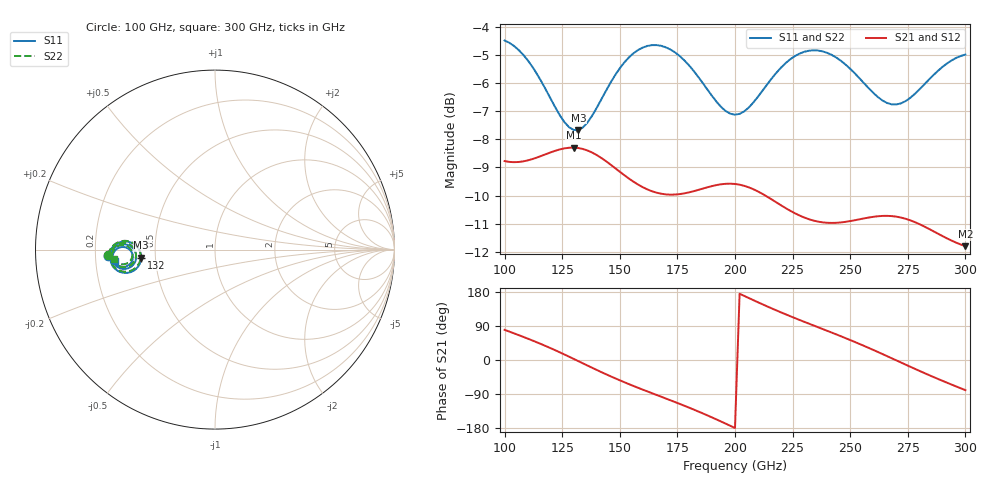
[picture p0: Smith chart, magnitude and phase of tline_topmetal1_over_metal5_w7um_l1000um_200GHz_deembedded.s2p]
! Created with skrf 2.0.1 (http://scikit-rf.org).
# GHz S DB R 50.0
!freq dBS11 angS11 dBS21 angS21 dBS12 angS12 dBS22 angS22
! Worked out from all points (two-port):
!   101 points, 100 GHz to 300 GHz, reference 50 ohm
!   highest |S21| = -8.29 dB at 130 GHz (marker M1); lowest = -11.8 dB at 300 GHz (marker M2)
!   |S21| within 3 dB of the highest: start of sweep to 286.7 GHz
!   lowest |S11| = -7.7 dB at 132 GHz (marker M3), VSWR 2.41, Z = 20.8 - j2.22 ohm
!   |S11| at or under -10 dB: nowhere
!   |S22| runs from -7.6 to -4.5 dB; largest |S21 - S12| = 3.8e-14
!   S11 on the Smith chart (normalised r, x): 100 GHz: 0.25, -0.03; 132 GHz: 0.42, -0.04; 300 GHz: 0.28, -0.05
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100  -4.48 -176.7  -8.77 79.6  -8.77 79.6  -4.48 -177.0
116  -5.95 174.9  -8.59 41.6  -8.59 41.6  -5.93 174.4
124  -7.15 177.3  -8.36 20.1  -8.36 20.1  -7.12 176.8
130  -7.67 -176.4  -8.29 2.9  -8.29 2.9  -7.63 -177.0
132  -7.67 -173.9  -8.31 -3.0  -8.31 -3.0  -7.63 -174.5
134  -7.58 -171.4  -8.34 -8.9  -8.34 -8.9  -7.54 -172.1
142  -6.57 -165.4  -8.66 -32.0  -8.66 -32.0  -6.55 -166.2
150  -5.47 -166.1  -9.15 -53.6  -9.15 -53.6  -5.46 -166.9
158  -4.82 -170.2  -9.61 -73.5  -9.61 -73.5  -4.81 -171.1
168  -4.68 -176.5  -9.93 -97.0  -9.93 -97.0  -4.67 -177.4
184  -5.77 176.7  -9.80 -135.7  -9.80 -135.7  -5.76 175.8
192  -6.66 178.3  -9.62 -157.0  -9.62 -157.0  -6.65 177.3
200  -7.12 -175.6  -9.59 -179.4  -9.59 -179.4  -7.11 -176.6
208  -6.69 -169.5  -9.77 157.8  -9.77 157.8  -6.68 -170.6
216  -5.83 -167.9  -10.14 136.0  -10.14 136.0  -5.82 -169.0
224  -5.15 -170.0  -10.54 115.5  -10.54 115.5  -5.14 -171.1
234  -4.83 -174.8  -10.89 91.4  -10.89 91.4  -4.82 -176.0
252  -5.65 178.5  -10.88 47.6  -10.88 47.6  -5.63 177.2
268  -6.75 -176.2  -10.73 4.7  -10.73 4.7  -6.72 -177.6
276  -6.53 -171.3  -10.88 -17.6  -10.88 -17.6  -6.50 -172.8
284  -5.89 -169.2  -11.18 -39.2  -11.18 -39.2  -5.87 -170.9
300  -4.99 -173.3  -11.80 -79.5  -11.80 -79.5  -4.97 -174.9
